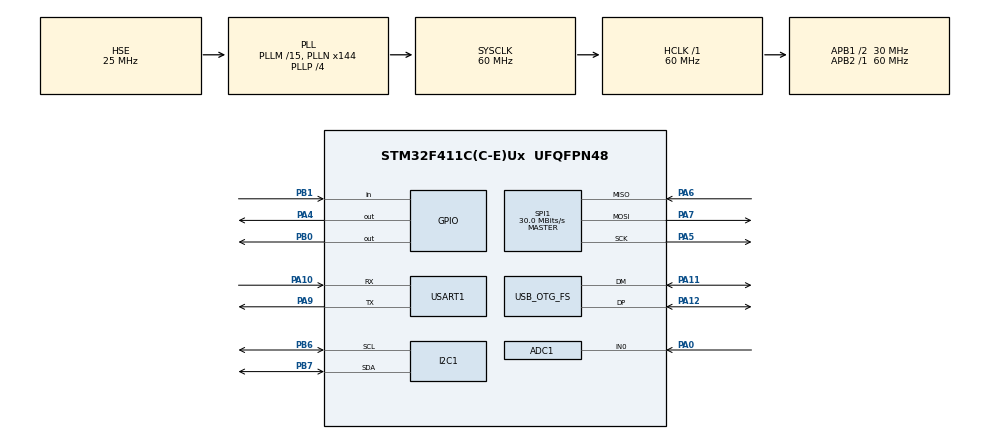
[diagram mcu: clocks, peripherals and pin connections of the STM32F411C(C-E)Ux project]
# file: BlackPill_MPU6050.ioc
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ADC1.Channel-0\#ChannelRegularConversion=ADC_CHANNEL_0
ADC1.NbrOfConversionFlag=1
ADC1.Rank-0\#ChannelRegularConversion=1
ADC1.SamplingTime-0\#ChannelRegularConversion=ADC_SAMPLETIME_3CYCLES
ADC1.master=1
Mcu.Family=STM32F4
Mcu.Name=STM32F411C(C-E)Ux
Mcu.Package=UFQFPN48
NVIC.OTG_FS_IRQn=true\:0\:0\:false\:false\:true\:false\:true\:true
NVIC.PriorityGroup=NVIC_PRIORITYGROUP_4
NVIC.USART1_IRQn=true\:0\:0\:false\:false\:true\:true\:true\:true
PA0-WKUP.Signal=ADCx_IN0
PA10.Mode=Asynchronous
PA10.Signal=USART1_RX
PA11.Mode=Device_Only
PA11.Signal=USB_OTG_FS_DM
PA12.Mode=Device_Only
PA12.Signal=USB_OTG_FS_DP
PA13.Mode=Serial_Wire
PA13.Signal=SYS_JTMS-SWDIO
PA14.Mode=Serial_Wire
PA14.Signal=SYS_JTCK-SWCLK
PA4.Signal=GPIO_Output
PA5.Mode=Full_Duplex_Master
PA5.Signal=SPI1_SCK
PA6.Mode=Full_Duplex_Master
PA6.Signal=SPI1_MISO
PA7.Mode=Full_Duplex_Master
PA7.Signal=SPI1_MOSI
PA9.Mode=Asynchronous
PA9.Signal=USART1_TX
PB0.Signal=GPIO_Output
PB1.Signal=GPIO_Input
PB6.Mode=I2C
PB6.Signal=I2C1_SCL
PB7.Mode=I2C
PB7.Signal=I2C1_SDA
PH0\ -\ OSC_IN.Mode=HSE-External-Oscillator
PH0\ -\ OSC_IN.Signal=RCC_OSC_IN
PH1\ -\ OSC_OUT.Mode=HSE-External-Oscillator
PH1\ -\ OSC_OUT.Signal=RCC_OSC_OUT
ProjectManager.HeapSize=0x200
ProjectManager.StackSize=0x400
ProjectManager.TargetToolchain=STM32CubeIDE
RCC.48MHZClocksFreq_Value=48000000
RCC.AHBFreq_Value=60000000
RCC.APB1CLKDivider=RCC_HCLK_DIV2
RCC.APB1Freq_Value=30000000
RCC.APB1TimFreq_Value=60000000
RCC.APB2Freq_Value=60000000
RCC.APB2TimFreq_Value=60000000
RCC.CortexFreq_Value=60000000
RCC.HCLKFreq_Value=60000000
RCC.HSE_VALUE=25000000
RCC.HSI_VALUE=16000000
RCC.LSE_VALUE=32768
RCC.PLLM=15
RCC.PLLN=144
RCC.PLLP=RCC_PLLP_DIV4
RCC.PLLQ=5
RCC.SYSCLKFreq_VALUE=60000000
RCC.SYSCLKSource=RCC_SYSCLKSOURCE_PLLCLK
RCC.VCOOutputFreq_Value=240000000
SH.ADCx_IN0.0=ADC1_IN0,IN0
SPI1.CalculateBaudRate=30.0 MBits/s
SPI1.Direction=SPI_DIRECTION_2LINES
SPI1.Mode=SPI_MODE_MASTER
SPI1.VirtualType=VM_MASTER
USART1.VirtualMode=VM_ASYNC
USB_DEVICE.CLASS_NAME_FS=CDC
USB_DEVICE.VirtualMode=Cdc
USB_DEVICE.VirtualModeFS=Cdc_FS
USB_OTG_FS.VirtualMode=Device_Only
VP_USB_DEVICE_VS_USB_DEVICE_CDC_FS.Mode=CDC_FS
board=custom

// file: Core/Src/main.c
/* USER CODE BEGIN Header */
/**
  ******************************************************************************
  * @file           : main.c
  * @brief          : Main program body
  ******************************************************************************
  * @attention
  *
  * Copyright (c) 2026 STMicroelectronics.
  * All rights reserved.
  *
  * This software is licensed under terms that can be found in the LICENSE file
  * in the root directory of this software component.
  * If no LICENSE file comes with this software, it is provided AS-IS.
  *
  ******************************************************************************
  */
/* USER CODE END Header */
#include "main.h"
#include "usb_device.h"

/* USER CODE BEGIN Includes */
#include <string.h>
#include <stdlib.h>
#include <stdio.h>
#include "sx1278.h"
/* USER CODE END Includes */

/* USER CODE BEGIN PD */
#define MPU6050_ADDR (0x68 << 1)
#define WHO_AM_I_REG         0x75
#define PWR_MGMT_1_REG       0x6B
#define ACCEL_XOUT_H_REG     0x3B
/* USER CODE END PD */

ADC_HandleTypeDef hadc1;

I2C_HandleTypeDef hi2c1;

SPI_HandleTypeDef hspi1;

UART_HandleTypeDef huart1;

/* USER CODE BEGIN PV */
int16_t Accel_X_RAW, Accel_Y_RAW, Accel_Z_RAW;
float Ax, Ay, Az;

float temperature;
uint32_t gas_adc_value;
float gas_voltage;
uint8_t is_flame_detected;
uint8_t human_detected; // Digital pin

// UART Radar variables
uint8_t rx_data;
char line_buf[64];
uint8_t line_idx = 0;
uint16_t target_distance_cm = 0;
uint8_t target_energy = 0;

// LoRa TX variables (From Jetson via USB)
#define LORA_PACKET_LENGTH 12
uint8_t lora_rx_buffer[LORA_PACKET_LENGTH];
uint8_t lora_rx_index = 0;
volatile uint8_t lora_packet_ready = 0;

// Non-blocking timers
uint32_t last_sensor_read = 0;
uint32_t last_lora_tx = 0;
/* USER CODE END PV */

void SystemClock_Config(void);
static void MX_GPIO_Init(void);
static void MX_I2C1_Init(void);
static void MX_ADC1_Init(void);
static void MX_USART1_UART_Init(void);
static void MX_SPI1_Init(void);

/* USER CODE BEGIN 0 */
// This function is called by CDC_Receive_FS in usbd_cdc_if.c
void process_usb_rx(uint8_t* Buf, uint32_t Len) {
    for (uint32_t i = 0; i < Len; i++) {
        uint8_t b = Buf[i];

        // Header checking
        if (lora_rx_index == 0 && b != 0xAB) continue;
        if (lora_rx_index == 1 && b != 0xCD) { lora_rx_index = 0; continue; }

        lora_rx_buffer[lora_rx_index++] = b;

        if (lora_rx_index >= LORA_PACKET_LENGTH) {
            lora_rx_index = 0;
            lora_packet_ready = 1; // Flag the main loop to send it
        }
    }
}
/* USER CODE END 0 */

int main(void)
{

  /* MCU Configuration--------------------------------------------------------*/

  /* Reset of all peripherals, Initializes the Flash interface and the Systick. */
  HAL_Init();

  /* Configure the system clock */
  SystemClock_Config();

  /* Initialize all configured peripherals */
  MX_GPIO_Init();
  MX_I2C1_Init();
  MX_ADC1_Init();
  MX_USART1_UART_Init();
  MX_SPI1_Init();
  MX_USB_DEVICE_Init();
  /* USER CODE BEGIN 2 */
  uint8_t check;
  uint8_t Data;

  /*
  HAL_I2C_Mem_Read(&hi2c1, MPU6050_ADDR, WHO_AM_I_REG, 1, &check, 1, 1000);
  Data = 0;
  HAL_I2C_Mem_Write(&hi2c1, MPU6050_ADDR, PWR_MGMT_1_REG, 1, &Data, 1, 1000);
  */

  // Initialize LoRa
  SX1278_Init();
  SX1278_SetTxPower(20);
  SX1278_SetSpreadingFactor(12);

  // Start receiving radar data via interrupt
  HAL_UART_Receive_IT(&huart1, &rx_data, 1);
  /* USER CODE END 2 */

  /* Infinite loop */
  /* USER CODE BEGIN WHILE */
  while (1)
  {
      // 1. Transmit simulated telemetry every 1000ms
      if (HAL_GetTick() - last_lora_tx >= 1000) {
          last_lora_tx = HAL_GetTick();

          static float sim_x = 1.0f;
          static float sim_y = 2.0f;
          sim_x += 0.1f;
          sim_y += 0.2f;
          if (sim_x > 20.0f) {
              sim_x = 1.0f;
              sim_y = 2.0f;
          }

          uint8_t packet[12];
          packet[0] = 0xAB;
          packet[1] = 0xCD;

          // Copy X and Y floats (4 bytes each)
          memcpy(&packet[2], &sim_x, 4);
          memcpy(&packet[6], &sim_y, 4);

          // Inject real flame sensor reading
          packet[10] = is_flame_detected;

          // Calculate XOR checksum (excluding headers)
          uint8_t checksum = 0;
          for (int i = 2; i < 11; i++) {
              checksum ^= packet[i];
          }
          packet[11] = checksum;

          // Transmit packet over LoRa
          SX1278_BeginPacket();
          SX1278_Write(packet, 12);
          SX1278_EndPacket();
      }

      // 2. Non-blocking sensor reading (every 50ms)
      if (HAL_GetTick() - last_sensor_read >= 50) {
          last_sensor_read = HAL_GetTick();

          uint8_t Rec_Data[6];
          uint32_t adc_value = 0;

          // MPU6050
          /*
          if (HAL_I2C_Mem_Read(&hi2c1, MPU6050_ADDR, ACCEL_XOUT_H_REG, 1, Rec_Data, 6, 10) == HAL_OK) {
              Accel_X_RAW = (int16_t)(Rec_Data[0] << 8 | Rec_Data[1]);
              Accel_Y_RAW = (int16_t)(Rec_Data[2] << 8 | Rec_Data[3]);
              Accel_Z_RAW = (int16_t)(Rec_Data[4] << 8 | Rec_Data[5]);
              Ax = Accel_X_RAW / 16384.0f;
              Ay = Accel_Y_RAW / 16384.0f;
              Az = Accel_Z_RAW / 16384.0f;
          }
          */

          // LM35
          ADC_ChannelConfTypeDef sConfig = {0};
          sConfig.Channel = ADC_CHANNEL_0;
          sConfig.Rank = 1;
          sConfig.SamplingTime = ADC_SAMPLETIME_3CYCLES;
          HAL_ADC_ConfigChannel(&hadc1, &sConfig);
          HAL_ADC_Start(&hadc1);
          if (HAL_ADC_PollForConversion(&hadc1, 5) == HAL_OK) {
              adc_value = HAL_ADC_GetValue(&hadc1);
              temperature = (adc_value * 3.3f / 4095.0f) * 100.0f;
          }
          HAL_ADC_Stop(&hadc1);

          // MiCS-5524
          sConfig.Channel = ADC_CHANNEL_1;
          HAL_ADC_ConfigChannel(&hadc1, &sConfig);
          HAL_ADC_Start(&hadc1);
          if (HAL_ADC_PollForConversion(&hadc1, 5) == HAL_OK) {
              gas_adc_value = HAL_ADC_GetValue(&hadc1);
              gas_voltage = (gas_adc_value * 3.3f / 4095.0f);
          }
          HAL_ADC_Stop(&hadc1);

          // Flame & Radar (Digital)
          is_flame_detected = HAL_GPIO_ReadPin(GPIOA, GPIO_PIN_2);
          human_detected = HAL_GPIO_ReadPin(GPIOA, GPIO_PIN_3);

          // We don't send FLAME over UART anymore because Jetson reads it via USB CDC!
          // The Flame data is merged into the LoRa packet directly above.
      }
    /* USER CODE END WHILE */

  }
}

void SystemClock_Config(void)
{
  RCC_OscInitTypeDef RCC_OscInitStruct = {0};
  RCC_ClkInitTypeDef RCC_ClkInitStruct = {0};

  /** Configure the main internal regulator output voltage
  */
  __HAL_RCC_PWR_CLK_ENABLE();
  __HAL_PWR_VOLTAGESCALING_CONFIG(PWR_REGULATOR_VOLTAGE_SCALE1);

  /** Initializes the RCC Oscillators according to the specified parameters
  * in the RCC_OscInitTypeDef structure.
  */
  RCC_OscInitStruct.OscillatorType = RCC_OSCILLATORTYPE_HSE;
  RCC_OscInitStruct.HSEState = RCC_HSE_ON;
  RCC_OscInitStruct.PLL.PLLState = RCC_PLL_ON;
  RCC_OscInitStruct.PLL.PLLSource = RCC_PLLSOURCE_HSE;
  RCC_OscInitStruct.PLL.PLLM = 15;
  RCC_OscInitStruct.PLL.PLLN = 144;
  RCC_OscInitStruct.PLL.PLLP = RCC_PLLP_DIV4;
  RCC_OscInitStruct.PLL.PLLQ = 5;
  if (HAL_RCC_OscConfig(&RCC_OscInitStruct) != HAL_OK)
  {
    Error_Handler();
  }

  /** Initializes the CPU, AHB and APB buses clocks
  */
  RCC_ClkInitStruct.ClockType = RCC_CLOCKTYPE_HCLK|RCC_CLOCKTYPE_SYSCLK
                              |RCC_CLOCKTYPE_PCLK1|RCC_CLOCKTYPE_PCLK2;
  RCC_ClkInitStruct.SYSCLKSource = RCC_SYSCLKSOURCE_PLLCLK;
  RCC_ClkInitStruct.AHBCLKDivider = RCC_SYSCLK_DIV1;
  RCC_ClkInitStruct.APB1CLKDivider = RCC_HCLK_DIV2;
  RCC_ClkInitStruct.APB2CLKDivider = RCC_HCLK_DIV1;

  if (HAL_RCC_ClockConfig(&RCC_ClkInitStruct, FLASH_LATENCY_1) != HAL_OK)
  {
    Error_Handler();
  }
}

static void MX_ADC1_Init(void)
{

  ADC_ChannelConfTypeDef sConfig = {0};

  /** Configure the global features of the ADC (Clock, Resolution, Data Alignment and number of conversion)
  */
  hadc1.Instance = ADC1;
  hadc1.Init.ClockPrescaler = ADC_CLOCK_SYNC_PCLK_DIV2;
  hadc1.Init.Resolution = ADC_RESOLUTION_12B;
  hadc1.Init.ScanConvMode = DISABLE;
  hadc1.Init.ContinuousConvMode = DISABLE;
  hadc1.Init.DiscontinuousConvMode = DISABLE;
  hadc1.Init.ExternalTrigConvEdge = ADC_EXTERNALTRIGCONVEDGE_NONE;
  hadc1.Init.ExternalTrigConv = ADC_SOFTWARE_START;
  hadc1.Init.DataAlign = ADC_DATAALIGN_RIGHT;
  hadc1.Init.NbrOfConversion = 1;
  hadc1.Init.DMAContinuousRequests = DISABLE;
  hadc1.Init.EOCSelection = ADC_EOC_SINGLE_CONV;
  if (HAL_ADC_Init(&hadc1) != HAL_OK)
  {
    Error_Handler();
  }

  /** Configure for the selected ADC regular channel its corresponding rank in the sequencer and its sample time.
  */
  sConfig.Channel = ADC_CHANNEL_0;
  sConfig.Rank = 1;
  sConfig.SamplingTime = ADC_SAMPLETIME_3CYCLES;
  if (HAL_ADC_ConfigChannel(&hadc1, &sConfig) != HAL_OK)
  {
    Error_Handler();
  }

}

static void MX_I2C1_Init(void)
{

  hi2c1.Instance = I2C1;
  hi2c1.Init.ClockSpeed = 100000;
  hi2c1.Init.DutyCycle = I2C_DUTYCYCLE_2;
  hi2c1.Init.OwnAddress1 = 0;
  hi2c1.Init.AddressingMode = I2C_ADDRESSINGMODE_7BIT;
  hi2c1.Init.DualAddressMode = I2C_DUALADDRESS_DISABLE;
  hi2c1.Init.OwnAddress2 = 0;
  hi2c1.Init.GeneralCallMode = I2C_GENERALCALL_DISABLE;
  hi2c1.Init.NoStretchMode = I2C_NOSTRETCH_DISABLE;
  if (HAL_I2C_Init(&hi2c1) != HAL_OK)
  {
    Error_Handler();
  }

}

static void MX_SPI1_Init(void)
{

  /* SPI1 parameter configuration*/
  hspi1.Instance = SPI1;
  hspi1.Init.Mode = SPI_MODE_MASTER;
  hspi1.Init.Direction = SPI_DIRECTION_2LINES;
  hspi1.Init.DataSize = SPI_DATASIZE_8BIT;
  hspi1.Init.CLKPolarity = SPI_POLARITY_LOW;
  hspi1.Init.CLKPhase = SPI_PHASE_1EDGE;
  hspi1.Init.NSS = SPI_NSS_SOFT;
  hspi1.Init.BaudRatePrescaler = SPI_BAUDRATEPRESCALER_2;
  hspi1.Init.FirstBit = SPI_FIRSTBIT_MSB;
  hspi1.Init.TIMode = SPI_TIMODE_DISABLE;
  hspi1.Init.CRCCalculation = SPI_CRCCALCULATION_DISABLE;
  hspi1.Init.CRCPolynomial = 10;
  if (HAL_SPI_Init(&hspi1) != HAL_OK)
  {
    Error_Handler();
  }

}

static void MX_USART1_UART_Init(void)
{

  huart1.Instance = USART1;
  huart1.Init.BaudRate = 115200;
  huart1.Init.WordLength = UART_WORDLENGTH_8B;
  huart1.Init.StopBits = UART_STOPBITS_1;
  huart1.Init.Parity = UART_PARITY_NONE;
  huart1.Init.Mode = UART_MODE_TX_RX;
  huart1.Init.HwFlowCtl = UART_HWCONTROL_NONE;
  huart1.Init.OverSampling = UART_OVERSAMPLING_16;
  if (HAL_UART_Init(&huart1) != HAL_OK)
  {
    Error_Handler();
  }

}

static void MX_GPIO_Init(void)
{
  GPIO_InitTypeDef GPIO_InitStruct = {0};

  /* GPIO Ports Clock Enable */
  __HAL_RCC_GPIOH_CLK_ENABLE();
  __HAL_RCC_GPIOA_CLK_ENABLE();
  __HAL_RCC_GPIOB_CLK_ENABLE();

  /*Configure GPIO pin Output Level */
  HAL_GPIO_WritePin(GPIOA, GPIO_PIN_4, GPIO_PIN_RESET);

  /*Configure GPIO pin Output Level */
  HAL_GPIO_WritePin(GPIOB, GPIO_PIN_0, GPIO_PIN_RESET);

  /*Configure GPIO pin : PA4 */
  GPIO_InitStruct.Pin = GPIO_PIN_4;
  GPIO_InitStruct.Mode = GPIO_MODE_OUTPUT_PP;
  GPIO_InitStruct.Pull = GPIO_NOPULL;
  GPIO_InitStruct.Speed = GPIO_SPEED_FREQ_LOW;
  HAL_GPIO_Init(GPIOA, &GPIO_InitStruct);

  /*Configure GPIO pin : PB0 */
  GPIO_InitStruct.Pin = GPIO_PIN_0;
  GPIO_InitStruct.Mode = GPIO_MODE_OUTPUT_PP;
  GPIO_InitStruct.Pull = GPIO_NOPULL;
  GPIO_InitStruct.Speed = GPIO_SPEED_FREQ_LOW;
  HAL_GPIO_Init(GPIOB, &GPIO_InitStruct);

  /*Configure GPIO pin : PB1 */
  GPIO_InitStruct.Pin = GPIO_PIN_1;
  GPIO_InitStruct.Mode = GPIO_MODE_INPUT;
  GPIO_InitStruct.Pull = GPIO_NOPULL;
  HAL_GPIO_Init(GPIOB, &GPIO_InitStruct);

  /* USER CODE BEGIN MX_GPIO_Init_2 */
  // إعداد PA2 (حساس اللهب) و PA3 (حساس الرادار) كمداخل رقمية
  GPIO_InitStruct.Pin = GPIO_PIN_2 | GPIO_PIN_3;
  GPIO_InitStruct.Mode = GPIO_MODE_INPUT;
  GPIO_InitStruct.Pull = GPIO_PULLDOWN;
  HAL_GPIO_Init(GPIOA, &GPIO_InitStruct);
  /* USER CODE END MX_GPIO_Init_2 */
}

/* USER CODE BEGIN 4 */
void HAL_UART_RxCpltCallback(UART_HandleTypeDef *huart)
{
    if(huart->Instance == USART1)
    {
        // إذا وصلنا لنهاية السطر
        if (rx_data == '\n') {
            line_buf[line_idx] = '\0'; // إغلاق النص

            // البحث عن كلمة distance:
            char *ptr = strstr(line_buf, "distance:");
            if (ptr != NULL) {
                target_distance_cm = atoi(ptr + 9);
            }

            line_idx = 0; // تصفير العداد للسطر القادم
        } else if (rx_data != '\r') {
            if (line_idx < 63) {
                line_buf[line_idx++] = (char)rx_data;
            }
        }

        HAL_UART_Receive_IT(&huart1, &rx_data, 1);
    }
}

void HAL_UART_ErrorCallback(UART_HandleTypeDef *huart)
{
    if(huart->Instance == USART1)
    {
        // مسح الأخطاء (Overrun, Framing, Noise)
        __HAL_UART_CLEAR_OREFLAG(huart);
        __HAL_UART_CLEAR_NEFLAG(huart);
        __HAL_UART_CLEAR_FEFLAG(huart);

        // إعادة تشغيل الاستقبال
        HAL_UART_Receive_IT(&huart1, &rx_data, 1);
    }
}
/* USER CODE END 4 */

void Error_Handler(void)
{
  __disable_irq();
  while (1)
  {
  }
}
